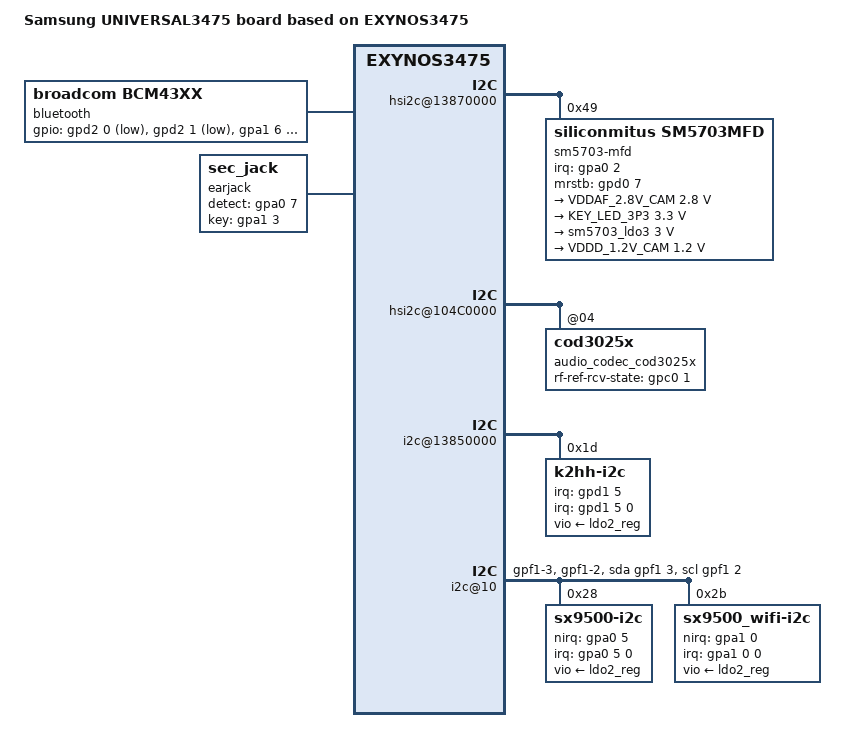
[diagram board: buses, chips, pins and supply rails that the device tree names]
/*
 * SAMSUNG EXYNOS3475 board device tree source
 *
 * Copyright (c) 2013 Samsung Electronics Co., Ltd.
 *		http://www.samsung.com
 *
 * This program is free software; you can redistribute it and/or modify
 * it under the terms of the GNU General Public License version 2 as
 * published by the Free Software Foundation.
*/

/dts-v1/;
#include "exynos3475-gtes_common.dtsi"
#include "modem-ss308ap-pdata.dtsi"
#include "exynos3475-gteslte_battery_05.dtsi"
#include "exynos3475-gteslte_chn_tw_gpio_02.dtsi"

/ {
	model = "Samsung UNIVERSAL3475 board based on EXYNOS3475";
	model_info-chip = <3475>;
	model_info-platform = "android";
	model_info-subtype = "samsung";
	model_info-hw_rev = <5>;
	model_info-hw_rev_end = <6>;
	compatible = "samsung,UNIVERSAL3475", "samsung,exynos3475";

	pinctrl@139B0000 {
		if_pmic_irq: if-pmic-irq {
			samsung,pins = "gpa0-2";
			samsung,pin-function = <0>;
			samsung,pin-pud = <0>;
			samsung,pin-drv = <0>;
		};


	};

	pinctrl@139C0000 {
		if_con_sense_ap: if-con-sense-ap {
			samsung,pins = "gpf0-2";
			samsung,pin-function = <0xf>;
			samsung,pin-pud = <1>;
			samsung,pin-drv = <0>;
		};
		chg_en: chg-en {
			samsung,pins = "gpd0-0";
			samsung,pin-function = <1>;
			samsung,pin-pud = <0>;
			samsung,pin-drv = <0>;
		};
	};

	hsi2c@13870000 {
		status = "okay";
		sm5703-mfd@49 {
			compatible = "siliconmitus,sm5703mfd";
			reg = <0x49>;
			pinctrl-names = "default";
			pinctrl-0 = <&chg_en &if_pmic_irq &if_con_sense_ap>;
			sm5703,irq-gpio = <&gpa0 2 0>;
			sm5703,mrstb-gpio = <&gpd0 7 0>;

			sm5703_ldo1 {
				compatible = "siliconmitus,sm5703-ldo1";
				regulator-name = "VDDAF_2.8V_CAM";  /* change name by yourself */
				regulator-min-microvolt = <2800000>;
				regulator-max-microvolt = <2800000>; /* max == min then apply_uV = 1 */
				/* regulator-microvolt-offset = < >; optional*/
				/* regulator-boot-on;*/ /* = "yes"; optional, exist = enabled */
				/* regulator-always-on;*/ /* = "yes"; optional, exist = enabled */
				/* regulator-ramp-delay = <100>; optional*/
			};

			sm5703_ldo2 {
				compatible = "siliconmitus,sm5703-ldo2";
				regulator-name = "KEY_LED_3P3";  /* change name by yourself */
				regulator-min-microvolt = <3300000>;
				regulator-max-microvolt = <3300000>; /* max == min then apply_uV = 1 */
				/* regulator-microvolt-offset = < >; optional*/
				/*regulator-boot-on;*/  /* = "yes"; optional, exist = enabled */
				/*regulator-always-on;*/  /* = "yes"; optional, exist = enabled */
				/* regulator-ramp-delay = <100>; optional*/
			};

			sm5703_ldo3: sm5703_ldo3 {
				compatible = "siliconmitus,sm5703-ldo3";
				regulator-name = "VDD_3.0V_SENSOR"; /* change name by yourself */
				regulator-min-microvolt = <3000000>;
				regulator-max-microvolt = <3000000>; /* max == min then apply_uV = 1 */
				/* regulator-microvolt-offset = < >; optional*/
				/* regulator-boot-on =*/  /* "yes"; optional, exist = enabled */
				regulator-boot-on;
				regulator-always-on;
			};

			sm5703_buck {
				compatible = "siliconmitus,sm5703-buck";
				regulator-name = "VDDD_1.2V_CAM"; /* change name by yourself */
				regulator-min-microvolt = <1200000>;
				regulator-max-microvolt = <1200000>; /* max == min then apply_uV = 1 */
				/* regulator-microvolt-offset = < >; optional*/
				/* regulator-boot-on = "yes"; optional, exist = enabled */
				/* regulator-always-on = "yes"; optional, exist = enabled */
				/* regulator-ramp-delay = <100>; optional*/
			};
		};
	};

	hsi2c@104C0000 {
		audio_codec_cod3025x: cod3025x@04 {
			rf-ref-rcv-state-gpio= <&gpc0 1 0>;
		};
	};

	bluetooth {
		compatible = "broadcom,bcm43xx";
		gpios = <&gpd2 0 1	/*BT_EN*/
				&gpd2 1 1	/*BT_WAKE*/
				&gpa1 6 0xF	/*BT_HOST_WAKE*/ >;
		pinctrl-names = "default";
		pinctrl-0=<&bt_hostwake &bt_btwake &bt_reg_on>;
		status = "okay";
	};

	i2c@13830000 {
		status = "disabled";
	};

	sec_vib {
		compatible = "sec_vib";
		sec_vib_pdata {
			status = "okay";
			sec_vib,max_timeout = <10000>;
			sec_vib,regulator = "VDD_MOT_3P3";
		};
	};

	pinctrl@139C0000 {
		acc_int: acc_int {
			samsung,pins = "gpd1-5";
			samsung,pins-function = <0x0>;
			samsung,pin-pud = <0>;
			samsung,pin-drv = <0>;
		};
	};

	i2c@13850000 {
		status = "okay";

		k2hh-i2c@1D {
			compatible = "k2hh-i2c";
			reg = <0x1D>;
			pinctrl-names = "default";
			pinctrl-0 = <&acc_int>;
			interrupt-parent = <&gpd1>;
			interrupts = <5 0 0>;
			k2hh,irq_gpio = <&gpd1 5 0>;
			k2hh,vio-supply = <&ldo2_reg>;
			k2hh,axis_map_x = <1>;
			k2hh,axis_map_y = <0>;
			k2hh,axis_map_z = <2>;
			k2hh,negate_x = <1>;
			k2hh,negate_y = <0>;
			k2hh,negate_z = <1>;
			k2hh,poll_interval = <100>;
			k2hh,min_interval = <2>;
		};
	};

	pinctrl@139C0000{
		grip_reg: grip-reg {
			samsung,pins = "gpf1-3", "gpf1-2";
			samsung,pin-function = <0x0>;
			samsung,pin-pud = <0>;
			samsung,pin-drv = <0>;
		};
	};

	pinctrl@139B0000{
		grip_det: grip-det {
			samsung,pins = "gpa0-5";
			samsung,pin-function = <0x0>;
			samsung,pin-pud = <0>;
			samsung,pin-drv = <0>;
		};
		wifi_touch: wifi-touch {
			samsung,pins = "gpa1-0";
			samsung,pin-function = <0x0>;
			samsung,pin-pud = <0>;
			samsung,pin-drv = <0>;
		};
	};

	i2c@10 {
		compatible = "i2c-gpio";
		gpios = <&gpf1 3 0
			&gpf1 2 0>;
		pinctrl-names = "default";
		pinctrl-0 = <&grip_reg>;
		i2c-gpio,delay-us = <2>;
		status = "okay";

		sx9500-i2c@28 {
			compatible = "sx9500-i2c";
			reg = <0x28>;
			pinctrl-names = "default";
			pinctrl-0 = <&grip_det>;
			sx9500-i2c,vio-supply = <&ldo2_reg>;
			interrupts = <5 0 0>;
			interrupt-parent = <&gpa0>;
			sx9500-i2c,nirq-gpio = <&gpa0 5 0>;
		};

		sx9500_wifi-i2c@2B {
			compatible = "sx9500_wifi-i2c";
			reg = <0x2B>;
			pinctrl-names = "default";
			pinctrl-0 = <&wifi_touch>;
			sx9500_wifi-i2c,vio-supply = <&ldo2_reg>;
			interrupts = <0 0 0>;
			interrupt-parent = <&gpa1>;
			sx9500_wifi-i2c,nirq-gpio = <&gpa1 0 0>;
		};
	};

	earjack {
		compatible = "sec_jack";
		detect-gpio = <&gpa0 7 0>;
	/*	ear-micbias-en-gpio = <&msmgpio 85 0>; */
		key-gpio = <&gpa1 3 0>;
	/*	ext-detchip-en-gpio = <310>; */
	/*	key-dbtime = <100>; */
		det-dbtime = <50>;
	/*	send-end-active-high; */
		det-zones-list = <&det_zones 3 10000 10 0>,
			<&det_zones 1706 10000 10 2>,
			<&det_zones 4095 10000 10 1>,
			<&det_zones 9999 10000 10 1>;
		but-zones-list = <&but_zones 226 0 550>,
			<&but_zones 582 551 634>,
			<&but_zones 115 635 843>,
			<&but_zones 114 844 4095>;
		pinctrl-names = "default";
		pinctrl-0 = <&earjack_jack_det &earjack_key_det>;
		status = "okay";
	};

	s6d7aa0: s6d7aa0_wxga {
		timing,dsi-hs-clk = <486>;
	};
};
